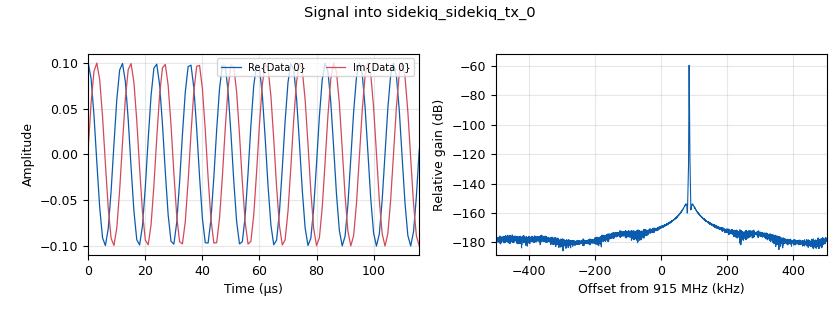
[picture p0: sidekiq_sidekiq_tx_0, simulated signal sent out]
options:
  parameters:
    author: sidekiq
    generate_options: qt_gui
    id: default
    output_language: python
    title: Not titled yet
  states: {}

blocks:
- name: amplitude
  id: variable
  parameters:
    value: '0.1'
  states: {}
- name: center_freq
  id: variable
  parameters:
    value: 915e6
  states: {}
- name: chirp_span
  id: variable
  parameters:
    value: 400e3
  states: {}
- name: samp_rate
  id: variable
  parameters:
    value: 1e6
  states: {}
- name: sweep_rate
  id: variable
  parameters:
    value: '0.2'
  states: {}
- name: analog_sig_source_x_0
  id: analog_sig_source_x
  parameters:
    amp: '1'
    freq: sweep_rate
    offset: '0'
    phase: '0'
    samp_rate: samp_rate
    type: float
    waveform: analog.GR_TRI_WAVE
  states: {}
- name: blocks_add_const_vxx_0
  id: blocks_add_const_vxx
  parameters:
    const: '-0.5'
    type: float
  states: {}
- name: blocks_multiply_const_vxx_0
  id: blocks_multiply_const_vxx
  parameters:
    const: amplitude
    type: complex
  states: {}
- name: blocks_vco_c_0
  id: blocks_vco_c
  parameters:
    amplitude: '1'
    samp_rate: samp_rate
    sensitivity: 2*3.14159*(chirp_span/2)
  states: {}
- name: qtgui_freq_sink_x_0
  id: qtgui_freq_sink_x
  parameters:
    bw: samp_rate
    fc: '0'
    fftsize: '1024'
    type: complex
  states: {}
- name: qtgui_waterfall_sink_x_0
  id: qtgui_waterfall_sink_x
  parameters:
    bw: samp_rate
    fc: '0'
    fftsize: '1024'
    type: complex
  states: {}
- name: sidekiq_sidekiq_rx_0
  id: sidekiq_sidekiq_rx
  parameters:
    bandwidth: samp_rate
    cal_mode: '0'
    cal_type: '0'
    card: '0'
    frequency: center_freq
    gain_index: '1'
    gain_mode: '0'
    handle1: '1'
    handle2: '100'
    pps_source: '0'
    run_cal: '0'
    sample_rate: samp_rate
    timestamp_tags: '0'
    topology: '-1'
    trigger_src: '0'
  states: {}
- name: sidekiq_sidekiq_tx_0
  id: sidekiq_sidekiq_tx
  parameters:
    attenuation: '150'
    bandwidth: samp_rate
    buffer_size: '4092'
    burst_tag: ''
    cal_mode: '0'
    card: '0'
    frequency: center_freq
    handle: '0'
    run_cal: '0'
    sample_rate: samp_rate
    threads: '0'
    topology: '-1'
  states: {}

connections:
- [analog_sig_source_x_0, '0', blocks_add_const_vxx_0, '0']
- [blocks_add_const_vxx_0, '0', blocks_vco_c_0, '0']
- [blocks_multiply_const_vxx_0, '0', sidekiq_sidekiq_tx_0, '0']
- [blocks_vco_c_0, '0', blocks_multiply_const_vxx_0, '0']
- [sidekiq_sidekiq_rx_0, '0', qtgui_freq_sink_x_0, '0']
- [sidekiq_sidekiq_rx_0, '0', qtgui_waterfall_sink_x_0, '0']

metadata:
  file_format: 1
  grc_version: 3.10.7.0
